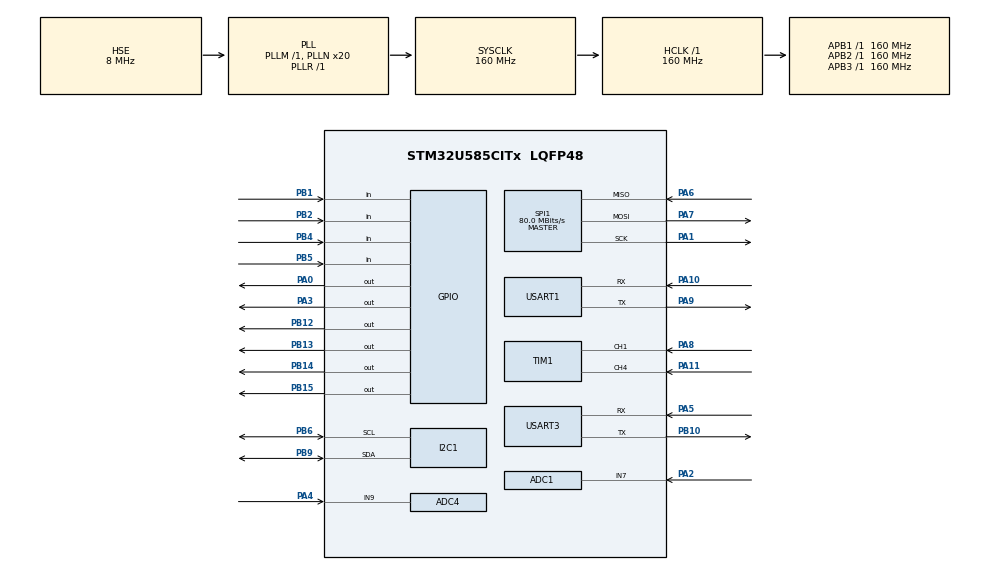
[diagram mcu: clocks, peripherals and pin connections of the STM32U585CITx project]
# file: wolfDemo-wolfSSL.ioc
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ADC1.NbrOfConversion=1
ADC1.master=1
ADC4.NbrOfConversion=1
ADC4.NbrOfConversionFlag=0
ADC4.SelectedChannel=ADC_CHANNEL_9
CORTEX_M33_NS.MPU_Control=__NULL
CORTEX_M33_NS.userName=CORTEX_M33
I2C1.Timing=0x30909DEC
Mcu.Family=STM32U5
Mcu.Name=STM32U585CITx
Mcu.Package=LQFP48
NVIC.PriorityGroup=NVIC_PRIORITYGROUP_4
NVIC.TIM6_IRQn=true\:2\:0\:true\:false\:true\:true\:true\:true
PA0.Signal=GPIO_Output
PA1.Mode=Full_Duplex_Master
PA1.Signal=SPI1_SCK
PA10.Mode=Asynchronous
PA10.Signal=USART1_RX
PA11.Signal=S_TIM1_CH4
PA13\ (JTMS/SWDIO).Mode=JTAG_4_pins
PA13\ (JTMS/SWDIO).Signal=DEBUG_JTMS-SWDIO
PA14\ (JTCK/SWCLK).Mode=JTAG_4_pins
PA14\ (JTCK/SWCLK).Signal=DEBUG_JTCK-SWCLK
PA15\ (JTDI).Mode=JTAG_4_pins
PA15\ (JTDI).Signal=DEBUG_JTDI
PA2.Mode=IN7-Single-Ended
PA2.Signal=ADC1_IN7
PA3.Signal=GPIO_Output
PA4.Mode=IN9
PA4.Signal=ADC4_IN9
PA5.Mode=Asynchronous
PA5.Signal=USART3_RX
PA6.Mode=Full_Duplex_Master
PA6.Signal=SPI1_MISO
PA7.Mode=Full_Duplex_Master
PA7.Signal=SPI1_MOSI
PA8.Signal=S_TIM1_CH1
PA9.Mode=Asynchronous
PA9.Signal=USART1_TX
PB1.Signal=GPIO_Input
PB10.Mode=Asynchronous
PB10.Signal=USART3_TX
PB12.GPIO_Speed=GPIO_SPEED_FREQ_HIGH
PB12.Signal=GPIO_Output
PB13.GPIO_Speed=GPIO_SPEED_FREQ_HIGH
PB13.Signal=GPIO_Output
PB14.GPIO_Speed=GPIO_SPEED_FREQ_HIGH
PB14.Signal=GPIO_Output
PB15.GPIO_ModeDefaultOutputPP=GPIO_MODE_OUTPUT_PP
PB15.GPIO_PuPd=GPIO_NOPULL
PB15.GPIO_Speed=GPIO_SPEED_FREQ_HIGH
PB15.Signal=GPIO_Output
PB2.Signal=GPIO_Input
PB3\ (JTDO/TRACESWO).Mode=JTAG_4_pins
PB3\ (JTDO/TRACESWO).Signal=DEBUG_JTDO-SWO
PB4\ (NJTRST).Signal=GPIO_Input
PB5.Signal=GPIO_Input
PB6.Mode=I2C
PB6.Signal=I2C1_SCL
PB9.Mode=I2C
PB9.Signal=I2C1_SDA
PC14-OSC32_IN\ (PC14).Mode=LSE-External-Oscillator
PC14-OSC32_IN\ (PC14).Signal=RCC_OSC32_IN
PC15-OSC32_OUT\ (PC15).Mode=LSE-External-Oscillator
PC15-OSC32_OUT\ (PC15).Signal=RCC_OSC32_OUT
PH0-OSC_IN\ (PH0).Mode=HSE-External-Oscillator
PH0-OSC_IN\ (PH0).Signal=RCC_OSC_IN
PH1-OSC_OUT\ (PH1).Mode=HSE-External-Oscillator
PH1-OSC_OUT\ (PH1).Signal=RCC_OSC_OUT
ProjectManager.HeapSize=0x200
ProjectManager.StackSize=0x400
ProjectManager.TargetToolchain=STM32CubeIDE
RCC.ADCFreq_Value=16000000
RCC.AHBFreq_Value=160000000
RCC.APB1Freq_Value=160000000
RCC.APB1TimFreq_Value=160000000
RCC.APB2Freq_Value=160000000
RCC.APB2TimFreq_Value=160000000
RCC.APB3Freq_Value=160000000
RCC.CortexFreq_Value=160000000
RCC.EPOD_VALUE=8000000
RCC.HCLKFreq_Value=160000000
RCC.HSE_VALUE=8000000
RCC.HSI48_VALUE=48000000
RCC.HSI_VALUE=16000000
RCC.LSIDIV_VALUE=32000
RCC.MSIClockRange=RCC_MSIRANGE_0
RCC.MSI_VALUE=48000000
RCC.PLL1R=1
RCC.PLL2FRACN=0
RCC.PLL3FRACN=0
RCC.PLLFRACN=0
RCC.PLLN=20
RCC.PLLSourceVirtual=RCC_PLLSOURCE_HSE
RCC.RTCClockSelection=RCC_RTCCLKSOURCE_LSE
RCC.SYSCLKFreq_VALUE=160000000
RCC.SYSCLKSource=RCC_SYSCLKSOURCE_PLLCLK
RCC.USBFreq_Value=48000000
RCC.VCOOutputFreq_Value=160000000
SH.S_TIM1_CH1.0=TIM1_CH1,Input_Capture1_from_TI1
SH.S_TIM1_CH4.0=TIM1_CH4,Input_Capture4_from_TI4
SPI1.CalculateBaudRate=80.0 MBits/s
SPI1.Direction=SPI_DIRECTION_2LINES
SPI1.Mode=SPI_MODE_MASTER
SPI1.VirtualType=VM_MASTER
TIM1.Channel-Input_Capture1_from_TI1=TIM_CHANNEL_1
TIM1.Channel-Input_Capture4_from_TI4=TIM_CHANNEL_4
TIM6.AutoReloadPreload=TIM_AUTORELOAD_PRELOAD_DISABLE
TIM6.PeriodNoDither=15
TIM6.Prescaler=159
TIM6.TIM_MasterOutputTrigger=TIM_TRGO_RESET
USART1.VirtualMode-Asynchronous=VM_ASYNC
USART3.VirtualMode-Asynchronous=VM_ASYNC
VP_AES_VS_AES.Mode=AES_Activate
VP_DCACHE1_VS_DCACHE.Mode=DCACHE_Activate
VP_HASH_VS_HASH.Mode=HASH_Activate
VP_ICACHE_VS_ICACHE.Mode=DefaultMode
VP_LPBAMQUEUE_VS_QUEUE.Mode=QUEUEMODE
VP_LPBAM_VS_SIG1.Mode=SmartRun
VP_LPBAM_VS_SIG4.Mode=LPDMA1
VP_MEMORYMAP_VS_MEMORYMAP.Mode=CurAppReg
VP_PKA_VS_PKA.Mode=PKA_Activate
VP_PWR_VS_SECSignals.Mode=Security/Privilege
VP_PWR_Vdda.Mode=isolationVdda
VP_RNG_VS_RNG.Mode=RNG_Activate
VP_RTC_VS_RTC_Activate.Mode=RTC_Enabled
VP_TIM6_VS_ClockSourceINT.Mode=Enable_Timer
VP_wolfSSL.I-CUBE-wolfSSL_VS_wolfSSLJjwolfSSL_5.8.2_5.8.2.Mode=wolfSSLJjwolfSSL
board=custom
wolfSSL.I-CUBE-wolfSSL.5.8.2.WOLF_CONF_ARMASM=0
wolfSSL.I-CUBE-wolfSSL.5.8.2.WOLF_CONF_KYBER=1
wolfSSL.I-CUBE-wolfSSL.5.8.2.WOLF_CONF_SHA2_384=1
wolfSSL.I-CUBE-wolfSSL.5.8.2.WOLF_CONF_SHA2_512=1
wolfSSL.I-CUBE-wolfSSL.5.8.2.WOLF_CONF_SHA3=1
wolfSSL.I-CUBE-wolfSSL.5.8.2.WOLF_CONF_WOLFCRYPT_ONLY=1
wolfSSL.I-CUBE-wolfSSL.5.8.2.wolfSSLCcwolfSSLJjwolfCryptJjCore=true
wolfSSL.I-CUBE-wolfSSL.5.8.2.wolfSSLCcwolfSSLJjwolfCryptJjTest=true
wolfSSL.I-CUBE-wolfSSL.5.8.2.wolfSSLCcwolfSSLJjwolfSSLJjCore=true

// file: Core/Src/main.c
/* USER CODE BEGIN Header */
/**
  ******************************************************************************
  * @file           : main.c
  * @brief          : Main program body
  ******************************************************************************
  * @attention
  *
  * Copyright (c) 2025 STMicroelectronics.
  * All rights reserved.
  *
  * This software is licensed under terms that can be found in the LICENSE file
  * in the root directory of this software component.
  * If no LICENSE file comes with this software, it is provided AS-IS.
  *
  ******************************************************************************
  */
/* USER CODE END Header */
#include "main.h"

/* USER CODE BEGIN Includes */
#include <stdarg.h>
#include <stdio.h>
#include "stdbool.h"
#include <wolfcrypt/benchmark/benchmark.h>
#include <wolfssl/wolfcrypt/mem_track.h>
/* USER CODE END Includes */

/* USER CODE BEGIN PTD */
extern unsigned char _estack;
extern unsigned int _Min_Stack_Size;   /* CubeMX linker scripts set this value */

/* USER CODE END PTD */

ADC_HandleTypeDef hadc1;
ADC_HandleTypeDef hadc4;

CRYP_HandleTypeDef hcryp;
__ALIGN_BEGIN static const uint32_t pKeyAES[4] __ALIGN_END = {
                            0x00000000,0x00000000,0x00000000,0x00000000};

DCACHE_HandleTypeDef hdcache1;

HASH_HandleTypeDef hhash;

I2C_HandleTypeDef hi2c1;

PKA_HandleTypeDef hpka;

RNG_HandleTypeDef hrng;

RTC_HandleTypeDef hrtc;

SPI_HandleTypeDef hspi1;

TIM_HandleTypeDef htim1;
TIM_HandleTypeDef htim6;

UART_HandleTypeDef huart1;
UART_HandleTypeDef huart3;

/* USER CODE BEGIN PV */
static int current_led = 0;
static inline void LED_Set(uint8_t idx, bool on)
{
  uint16_t pin;
  switch(idx) {
    case 0: pin = GPIO_PIN_12; break;
    case 1: pin = GPIO_PIN_13; break;
    case 2: pin = GPIO_PIN_14; break;
    default: pin = GPIO_PIN_15; break;
  }

  HAL_GPIO_WritePin(GPIOB, pin, on ? GPIO_PIN_SET : GPIO_PIN_RESET);
}
static inline void LED_Set_Change()
{

  switch(current_led) {
    case 0:
    	LED_Set(3, false);
    	LED_Set(0, true);
    	break;
    case 1:
    	LED_Set(0, false);
    	LED_Set(1, true);
    	break;
    case 2:
    	LED_Set(1, false);
    	LED_Set(2, true);
    	break;
    default:
    	LED_Set(2, false);
    	LED_Set(3, true);
    	break;
  }

  current_led++;
  if (current_led == 4)
	  current_led = 0;
}

/* Retargets the C library printf function to the USART. */
#include <stdio.h>
#ifdef __GNUC__
int __io_putchar(int ch)
#else
int fputc(int ch, FILE *f)
#endif
{
    HAL_UART_Transmit(&huart1, (uint8_t *)&ch, 1, 0xFFFF);

    return ch;
}
int _wrap_printf(const char *fmt, ...) {

    va_list ap;
    va_start(ap, fmt);
    LED_Set_Change();
    // Call the real vprintf so we don’t have to forward varargs ourselves
    int rc = vprintf(fmt, ap);
    va_end(ap);

    return rc;
}

#ifdef __GNUC__
int _write(int file,char *ptr, int len)
{
    int DataIdx;

    for (DataIdx= 0; DataIdx< len; DataIdx++) {
        __io_putchar(*ptr++);
    }
    return len;
}
#endif

/* ---- Software-PWM parameters ----
   With 64 levels and a 1 kHz PWM frequency, we need a 64 kHz TIM6 update IRQ.
   That’s light CPU load and gives smooth fades.
*/
#define PWM_LEVELS        64u            // 6-bit PWM
#define PWM_FREQ_HZ       1000u          // visible PWM ~1 kHz (no flicker)
#define TIM6_TICK_HZ      (PWM_LEVELS * PWM_FREQ_HZ) // = 64 kHz

/* Fade sequencing: one LED at a time, fade up then down, then next LED */
#define FADE_STEP_PERIODS 2u             // brightness change every N PWM periods
#define BRIGHT_MAX        (PWM_LEVELS-1)

static volatile uint8_t  pwm_phase = 0;   // 0..(PWM_LEVELS-1)
static volatile uint16_t period_acc = 0;  // counts PWM periods for fade stepping
static volatile uint8_t  lead_led = 0;     // 0..3 (PB12..PB15)
static volatile uint8_t  trail_led = 3;    // previous LED (starts as 3 so 3->0 first)
static volatile uint8_t  cross = 0;        // 0..BRIGHT_MAX
static volatile uint8_t  bright[4] = {0,0,0,0}; // current brightness per LED
/* USER CODE END PV */

void SystemClock_Config(void);
static void MX_GPIO_Init(void);
static void MX_ADC1_Init(void);
static void MX_ADC4_Init(void);
static void MX_I2C1_Init(void);
static void MX_SPI1_Init(void);
static void MX_TIM1_Init(void);
static void MX_USART1_UART_Init(void);
static void MX_USART3_UART_Init(void);
static void MX_DCACHE1_Init(void);
static void MX_ICACHE_Init(void);
static void MX_TIM6_Init(void);
static void MX_AES_Init(void);
static void MX_HASH_Init(void);
static void MX_RNG_Init(void);
static void MX_PKA_Init(void);
static void MX_RTC_Init(void);
/* USER CODE BEGIN PFP */
static inline void LED_InitPins(void);
static inline void LED_Set(uint8_t idx, bool on);
static void        LED_ApplyPWM(void);
static void        LED_FadeStep(void);
/* USER CODE END PFP */

/* USER CODE BEGIN 0 */
static inline void LED_InitPins(void)
{
  /* If CubeMX already set PB12..PB15 as outputs, this is optional.
     Safe to call anyway. */
  GPIO_InitTypeDef gi = {0};
  __HAL_RCC_GPIOB_CLK_ENABLE();
  gi.Pin   = GPIO_PIN_12 | GPIO_PIN_13 | GPIO_PIN_14 | GPIO_PIN_15;
  gi.Mode  = GPIO_MODE_OUTPUT_PP;
  gi.Pull  = GPIO_NOPULL;
  gi.Speed = GPIO_SPEED_FREQ_LOW;
  HAL_GPIO_Init(GPIOB, &gi);

  HAL_GPIO_WritePin(GPIOB, GPIO_PIN_12 | GPIO_PIN_13 | GPIO_PIN_14 | GPIO_PIN_15, GPIO_PIN_RESET);
}

/* Called every TIM6 tick: keep as-is */
static void LED_ApplyPWM(void)
{
  uint8_t p = pwm_phase;

  for (uint8_t i = 0; i < 4; i++) {
    LED_Set(i, bright[i] > p);
  }

  p++;
  if (p >= PWM_LEVELS) {
    p = 0;
    if (++period_acc >= FADE_STEP_PERIODS) {
      period_acc = 0;
      LED_FadeStep();
    }
  }
  pwm_phase = p;
}

/* Cross-fade:
   - trail_led brightness = BRIGHT_MAX - cross (fading down)
   - lead_led  brightness = cross               (fading up)
   When cross reaches BRIGHT_MAX, advance to next LED and reset cross.
*/
static void LED_FadeStep(void)
{
  /* Update the two active LEDs */
  bright[lead_led]  = cross;
  bright[trail_led] = BRIGHT_MAX - cross;

  /* Others stay off */
  for (uint8_t i = 0; i < 4; i++) {
    if (i != lead_led && i != trail_led) bright[i] = 0;
  }

  /* Advance cross */
  if (cross < BRIGHT_MAX) {
    cross++;
  } else {
    /* Completed cross-fade: the lead becomes the new trail,
       pick the next LED as the new lead, reset cross */
    cross = 0;
    trail_led = lead_led;
    lead_led  = (uint8_t)((lead_led + 1) & 0x03);
  }
}
/* USER CODE END 0 */

int main(void)
{

  /* MCU Configuration--------------------------------------------------------*/

  /* Reset of all peripherals, Initializes the Flash interface and the Systick. */
  HAL_Init();

  /* USER CODE BEGIN Init */
  /* Turn off buffers, so I/O occurs immediately */
  setvbuf(stdin, NULL, _IONBF, 0);
  setvbuf(stdout, NULL, _IONBF, 0);
  setvbuf(stderr, NULL, _IONBF, 0);
  /* USER CODE END Init */

  /* Configure the system clock */
  SystemClock_Config();

  /* Initialize all configured peripherals */
  MX_GPIO_Init();
  MX_ADC1_Init();
  MX_ADC4_Init();
  MX_I2C1_Init();
  MX_SPI1_Init();
  MX_TIM1_Init();
  MX_USART1_UART_Init();
  MX_USART3_UART_Init();
  MX_DCACHE1_Init();
  MX_ICACHE_Init();
  MX_TIM6_Init();
  MX_AES_Init();
  MX_HASH_Init();
  MX_RNG_Init();
  MX_PKA_Init();
  MX_RTC_Init();
  /* USER CODE BEGIN 2 */
  size_t stack_bytes = (size_t)&_Min_Stack_Size;  /* value, not address */
  STACK_SIZE_CHECK_INIT_TOP(&_estack, stack_bytes);
  //StackSizeCheck_Rebaseline();

  uint32_t loop_count = 0;
  if (HAL_GPIO_ReadPin(GPIOB, GPIO_PIN_5) == GPIO_PIN_RESET) {
	  LED_InitPins();

	  /* Start with LED 3 fading down and LED 0 fading up */
	  lead_led  = 0;
	  trail_led = 3;
	  cross     = 0;
	  bright[lead_led]  = cross;
	  bright[trail_led] = BRIGHT_MAX - cross;
	  for (uint8_t i = 0; i < 4; i++) {
	    if (i != lead_led && i != trail_led) bright[i] = 0;
	  }

	  /* Start TIM6 update interrupt. Make sure TIM6 is configured to tick at TIM6_TICK_HZ (see settings below). */
	  if (HAL_TIM_Base_Start_IT(&htim6) != HAL_OK) {
	    Error_Handler();
	  }
	  while(1)
	  {}
  }
  /* USER CODE END 2 */

  /* Infinite loop */
  /* USER CODE BEGIN WHILE */
  while (1)
  {
	loop_count++;
    /* USER CODE END WHILE */
	printf("\x1b[2J\x1b[H\x1b[4m\x1b[97mwolf\x1b[96mSSL \x1b[38;2;255;210;0mSTM32U585 @ 160 MHz, hardware accelerated\x1b[92m\x1b[0m\r\n");
	printf("Benchmark Demo run %u\r\n", loop_count);
	benchmark_test(NULL);
	HAL_Delay(5000);
  }
}

void SystemClock_Config(void)
{
  RCC_OscInitTypeDef RCC_OscInitStruct = {0};
  RCC_ClkInitTypeDef RCC_ClkInitStruct = {0};

  /** Configure the main internal regulator output voltage
  */
  if (HAL_PWREx_ControlVoltageScaling(PWR_REGULATOR_VOLTAGE_SCALE1) != HAL_OK)
  {
    Error_Handler();
  }

  /** Configure LSE Drive Capability
  */
  HAL_PWR_EnableBkUpAccess();
  __HAL_RCC_LSEDRIVE_CONFIG(RCC_LSEDRIVE_LOW);

  /** Initializes the CPU, AHB and APB buses clocks
  */
  RCC_OscInitStruct.OscillatorType = RCC_OSCILLATORTYPE_HSI48|RCC_OSCILLATORTYPE_HSI
                              |RCC_OSCILLATORTYPE_HSE|RCC_OSCILLATORTYPE_LSE;
  RCC_OscInitStruct.HSEState = RCC_HSE_ON;
  RCC_OscInitStruct.LSEState = RCC_LSE_ON;
  RCC_OscInitStruct.HSIState = RCC_HSI_ON;
  RCC_OscInitStruct.HSI48State = RCC_HSI48_ON;
  RCC_OscInitStruct.HSICalibrationValue = RCC_HSICALIBRATION_DEFAULT;
  RCC_OscInitStruct.PLL.PLLState = RCC_PLL_ON;
  RCC_OscInitStruct.PLL.PLLSource = RCC_PLLSOURCE_HSE;
  RCC_OscInitStruct.PLL.PLLMBOOST = RCC_PLLMBOOST_DIV1;
  RCC_OscInitStruct.PLL.PLLM = 1;
  RCC_OscInitStruct.PLL.PLLN = 20;
  RCC_OscInitStruct.PLL.PLLP = 2;
  RCC_OscInitStruct.PLL.PLLQ = 2;
  RCC_OscInitStruct.PLL.PLLR = 1;
  RCC_OscInitStruct.PLL.PLLRGE = RCC_PLLVCIRANGE_1;
  RCC_OscInitStruct.PLL.PLLFRACN = 0;
  if (HAL_RCC_OscConfig(&RCC_OscInitStruct) != HAL_OK)
  {
    Error_Handler();
  }

  /** Initializes the CPU, AHB and APB buses clocks
  */
  RCC_ClkInitStruct.ClockType = RCC_CLOCKTYPE_HCLK|RCC_CLOCKTYPE_SYSCLK
                              |RCC_CLOCKTYPE_PCLK1|RCC_CLOCKTYPE_PCLK2
                              |RCC_CLOCKTYPE_PCLK3;
  RCC_ClkInitStruct.SYSCLKSource = RCC_SYSCLKSOURCE_PLLCLK;
  RCC_ClkInitStruct.AHBCLKDivider = RCC_SYSCLK_DIV1;
  RCC_ClkInitStruct.APB1CLKDivider = RCC_HCLK_DIV1;
  RCC_ClkInitStruct.APB2CLKDivider = RCC_HCLK_DIV1;
  RCC_ClkInitStruct.APB3CLKDivider = RCC_HCLK_DIV1;

  if (HAL_RCC_ClockConfig(&RCC_ClkInitStruct, FLASH_LATENCY_4) != HAL_OK)
  {
    Error_Handler();
  }
}

static void MX_ADC1_Init(void)
{

  /** Common config
  */
  hadc1.Instance = ADC1;
  hadc1.Init.ClockPrescaler = ADC_CLOCK_ASYNC_DIV1;
  hadc1.Init.Resolution = ADC_RESOLUTION_14B;
  hadc1.Init.GainCompensation = 0;
  hadc1.Init.ScanConvMode = ADC_SCAN_DISABLE;
  hadc1.Init.EOCSelection = ADC_EOC_SINGLE_CONV;
  hadc1.Init.LowPowerAutoWait = DISABLE;
  hadc1.Init.ContinuousConvMode = DISABLE;
  hadc1.Init.NbrOfConversion = 1;
  hadc1.Init.DiscontinuousConvMode = DISABLE;
  hadc1.Init.DMAContinuousRequests = DISABLE;
  hadc1.Init.TriggerFrequencyMode = ADC_TRIGGER_FREQ_HIGH;
  hadc1.Init.Overrun = ADC_OVR_DATA_PRESERVED;
  hadc1.Init.LeftBitShift = ADC_LEFTBITSHIFT_NONE;
  hadc1.Init.ConversionDataManagement = ADC_CONVERSIONDATA_DR;
  hadc1.Init.OversamplingMode = DISABLE;
  if (HAL_ADC_Init(&hadc1) != HAL_OK)
  {
    Error_Handler();
  }

}

static void MX_ADC4_Init(void)
{

  /** Common config
  */
  hadc4.Instance = ADC4;
  hadc4.Init.ClockPrescaler = ADC_CLOCK_ASYNC_DIV1;
  hadc4.Init.Resolution = ADC_RESOLUTION_12B;
  hadc4.Init.DataAlign = ADC_DATAALIGN_RIGHT;
  hadc4.Init.ScanConvMode = ADC_SCAN_DIRECTION_FORWARD;
  hadc4.Init.EOCSelection = ADC_EOC_SINGLE_CONV;
  hadc4.Init.LowPowerAutoPowerOff = ADC_LOW_POWER_NONE;
  hadc4.Init.LowPowerAutoWait = DISABLE;
  hadc4.Init.ContinuousConvMode = DISABLE;
  hadc4.Init.NbrOfConversion = 1;
  hadc4.Init.DiscontinuousConvMode = DISABLE;
  hadc4.Init.ExternalTrigConv = ADC_SOFTWARE_START;
  hadc4.Init.ExternalTrigConvEdge = ADC_EXTERNALTRIGCONVEDGE_NONE;
  hadc4.Init.DMAContinuousRequests = DISABLE;
  hadc4.Init.TriggerFrequencyMode = ADC_TRIGGER_FREQ_LOW;
  hadc4.Init.Overrun = ADC_OVR_DATA_PRESERVED;
  hadc4.Init.SamplingTimeCommon1 = ADC4_SAMPLETIME_1CYCLE_5;
  hadc4.Init.SamplingTimeCommon2 = ADC4_SAMPLETIME_1CYCLE_5;
  hadc4.Init.OversamplingMode = DISABLE;
  if (HAL_ADC_Init(&hadc4) != HAL_OK)
  {
    Error_Handler();
  }

}

static void MX_AES_Init(void)
{

  hcryp.Instance = AES;
  hcryp.Init.DataType = CRYP_NO_SWAP;
  hcryp.Init.KeySize = CRYP_KEYSIZE_128B;
  hcryp.Init.pKey = (uint32_t *)pKeyAES;
  hcryp.Init.Algorithm = CRYP_AES_ECB;
  hcryp.Init.DataWidthUnit = CRYP_DATAWIDTHUNIT_WORD;
  hcryp.Init.HeaderWidthUnit = CRYP_HEADERWIDTHUNIT_WORD;
  hcryp.Init.KeyIVConfigSkip = CRYP_KEYIVCONFIG_ALWAYS;
  hcryp.Init.KeyMode = CRYP_KEYMODE_NORMAL;
  if (HAL_CRYP_Init(&hcryp) != HAL_OK)
  {
    Error_Handler();
  }

}

static void MX_DCACHE1_Init(void)
{

  hdcache1.Instance = DCACHE1;
  hdcache1.Init.ReadBurstType = DCACHE_READ_BURST_WRAP;
  if (HAL_DCACHE_Init(&hdcache1) != HAL_OK)
  {
    Error_Handler();
  }

}

static void MX_HASH_Init(void)
{

  hhash.Init.DataType = HASH_DATATYPE_32B;
  if (HAL_HASH_Init(&hhash) != HAL_OK)
  {
    Error_Handler();
  }

}

static void MX_I2C1_Init(void)
{

  hi2c1.Instance = I2C1;
  hi2c1.Init.Timing = 0x30909DEC;
  hi2c1.Init.OwnAddress1 = 0;
  hi2c1.Init.AddressingMode = I2C_ADDRESSINGMODE_7BIT;
  hi2c1.Init.DualAddressMode = I2C_DUALADDRESS_DISABLE;
  hi2c1.Init.OwnAddress2 = 0;
  hi2c1.Init.OwnAddress2Masks = I2C_OA2_NOMASK;
  hi2c1.Init.GeneralCallMode = I2C_GENERALCALL_DISABLE;
  hi2c1.Init.NoStretchMode = I2C_NOSTRETCH_DISABLE;
  if (HAL_I2C_Init(&hi2c1) != HAL_OK)
  {
    Error_Handler();
  }

  /** Configure Analogue filter
  */
  if (HAL_I2CEx_ConfigAnalogFilter(&hi2c1, I2C_ANALOGFILTER_ENABLE) != HAL_OK)
  {
    Error_Handler();
  }

  /** Configure Digital filter
  */
  if (HAL_I2CEx_ConfigDigitalFilter(&hi2c1, 0) != HAL_OK)
  {
    Error_Handler();
  }

}

static void MX_ICACHE_Init(void)
{

  /** Enable instruction cache (default 2-ways set associative cache)
  */
  if (HAL_ICACHE_Enable() != HAL_OK)
  {
    Error_Handler();
  }

}

static void MX_PKA_Init(void)
{

  hpka.Instance = PKA;
  if (HAL_PKA_Init(&hpka) != HAL_OK)
  {
    Error_Handler();
  }

}

static void MX_RNG_Init(void)
{

  hrng.Instance = RNG;
  hrng.Init.ClockErrorDetection = RNG_CED_ENABLE;
  if (HAL_RNG_Init(&hrng) != HAL_OK)
  {
    Error_Handler();
  }

}

static void MX_RTC_Init(void)
{

  RTC_PrivilegeStateTypeDef privilegeState = {0};

  /** Initialize RTC Only
  */
  hrtc.Instance = RTC;
  hrtc.Init.HourFormat = RTC_HOURFORMAT_24;
  hrtc.Init.AsynchPrediv = 127;
  hrtc.Init.SynchPrediv = 255;
  hrtc.Init.OutPut = RTC_OUTPUT_DISABLE;
  hrtc.Init.OutPutRemap = RTC_OUTPUT_REMAP_NONE;
  hrtc.Init.OutPutPolarity = RTC_OUTPUT_POLARITY_HIGH;
  hrtc.Init.OutPutType = RTC_OUTPUT_TYPE_OPENDRAIN;
  hrtc.Init.OutPutPullUp = RTC_OUTPUT_PULLUP_NONE;
  hrtc.Init.BinMode = RTC_BINARY_NONE;
  if (HAL_RTC_Init(&hrtc) != HAL_OK)
  {
    Error_Handler();
  }
  privilegeState.rtcPrivilegeFull = RTC_PRIVILEGE_FULL_NO;
  privilegeState.backupRegisterPrivZone = RTC_PRIVILEGE_BKUP_ZONE_NONE;
  privilegeState.backupRegisterStartZone2 = RTC_BKP_DR0;
  privilegeState.backupRegisterStartZone3 = RTC_BKP_DR0;
  if (HAL_RTCEx_PrivilegeModeSet(&hrtc, &privilegeState) != HAL_OK)
  {
    Error_Handler();
  }

}

static void MX_SPI1_Init(void)
{

  SPI_AutonomousModeConfTypeDef HAL_SPI_AutonomousMode_Cfg_Struct = {0};

  /* SPI1 parameter configuration*/
  hspi1.Instance = SPI1;
  hspi1.Init.Mode = SPI_MODE_MASTER;
  hspi1.Init.Direction = SPI_DIRECTION_2LINES;
  hspi1.Init.DataSize = SPI_DATASIZE_4BIT;
  hspi1.Init.CLKPolarity = SPI_POLARITY_LOW;
  hspi1.Init.CLKPhase = SPI_PHASE_1EDGE;
  hspi1.Init.NSS = SPI_NSS_SOFT;
  hspi1.Init.BaudRatePrescaler = SPI_BAUDRATEPRESCALER_2;
  hspi1.Init.FirstBit = SPI_FIRSTBIT_MSB;
  hspi1.Init.TIMode = SPI_TIMODE_DISABLE;
  hspi1.Init.CRCCalculation = SPI_CRCCALCULATION_DISABLE;
  hspi1.Init.CRCPolynomial = 0x7;
  hspi1.Init.NSSPMode = SPI_NSS_PULSE_ENABLE;
  hspi1.Init.NSSPolarity = SPI_NSS_POLARITY_LOW;
  hspi1.Init.FifoThreshold = SPI_FIFO_THRESHOLD_01DATA;
  hspi1.Init.MasterSSIdleness = SPI_MASTER_SS_IDLENESS_00CYCLE;
  hspi1.Init.MasterInterDataIdleness = SPI_MASTER_INTERDATA_IDLENESS_00CYCLE;
  hspi1.Init.MasterReceiverAutoSusp = SPI_MASTER_RX_AUTOSUSP_DISABLE;
  hspi1.Init.MasterKeepIOState = SPI_MASTER_KEEP_IO_STATE_DISABLE;
  hspi1.Init.IOSwap = SPI_IO_SWAP_DISABLE;
  hspi1.Init.ReadyMasterManagement = SPI_RDY_MASTER_MANAGEMENT_INTERNALLY;
  hspi1.Init.ReadyPolarity = SPI_RDY_POLARITY_HIGH;
  if (HAL_SPI_Init(&hspi1) != HAL_OK)
  {
    Error_Handler();
  }
  HAL_SPI_AutonomousMode_Cfg_Struct.TriggerState = SPI_AUTO_MODE_DISABLE;
  HAL_SPI_AutonomousMode_Cfg_Struct.TriggerSelection = SPI_GRP1_GPDMA_CH0_TCF_TRG;
  HAL_SPI_AutonomousMode_Cfg_Struct.TriggerPolarity = SPI_TRIG_POLARITY_RISING;
  if (HAL_SPIEx_SetConfigAutonomousMode(&hspi1, &HAL_SPI_AutonomousMode_Cfg_Struct) != HAL_OK)
  {
    Error_Handler();
  }

}

static void MX_TIM1_Init(void)
{

  TIM_MasterConfigTypeDef sMasterConfig = {0};
  TIM_IC_InitTypeDef sConfigIC = {0};

  htim1.Instance = TIM1;
  htim1.Init.Prescaler = 0;
  htim1.Init.CounterMode = TIM_COUNTERMODE_UP;
  htim1.Init.Period = 65535;
  htim1.Init.ClockDivision = TIM_CLOCKDIVISION_DIV1;
  htim1.Init.RepetitionCounter = 0;
  htim1.Init.AutoReloadPreload = TIM_AUTORELOAD_PRELOAD_DISABLE;
  if (HAL_TIM_IC_Init(&htim1) != HAL_OK)
  {
    Error_Handler();
  }
  sMasterConfig.MasterOutputTrigger = TIM_TRGO_RESET;
  sMasterConfig.MasterOutputTrigger2 = TIM_TRGO2_RESET;
  sMasterConfig.MasterSlaveMode = TIM_MASTERSLAVEMODE_DISABLE;
  if (HAL_TIMEx_MasterConfigSynchronization(&htim1, &sMasterConfig) != HAL_OK)
  {
    Error_Handler();
  }
  sConfigIC.ICPolarity = TIM_INPUTCHANNELPOLARITY_RISING;
  sConfigIC.ICSelection = TIM_ICSELECTION_DIRECTTI;
  sConfigIC.ICPrescaler = TIM_ICPSC_DIV1;
  sConfigIC.ICFilter = 0;
  if (HAL_TIM_IC_ConfigChannel(&htim1, &sConfigIC, TIM_CHANNEL_1) != HAL_OK)
  {
    Error_Handler();
  }
  if (HAL_TIM_IC_ConfigChannel(&htim1, &sConfigIC, TIM_CHANNEL_4) != HAL_OK)
  {
    Error_Handler();
  }

}

static void MX_TIM6_Init(void)
{

  TIM_MasterConfigTypeDef sMasterConfig = {0};

  htim6.Instance = TIM6;
  htim6.Init.Prescaler = 159;
  htim6.Init.CounterMode = TIM_COUNTERMODE_UP;
  htim6.Init.Period = 15;
  htim6.Init.AutoReloadPreload = TIM_AUTORELOAD_PRELOAD_DISABLE;
  if (HAL_TIM_Base_Init(&htim6) != HAL_OK)
  {
    Error_Handler();
  }
  sMasterConfig.MasterOutputTrigger = TIM_TRGO_RESET;
  sMasterConfig.MasterSlaveMode = TIM_MASTERSLAVEMODE_DISABLE;
  if (HAL_TIMEx_MasterConfigSynchronization(&htim6, &sMasterConfig) != HAL_OK)
  {
    Error_Handler();
  }

}

static void MX_USART1_UART_Init(void)
{

  huart1.Instance = USART1;
  huart1.Init.BaudRate = 115200;
  huart1.Init.WordLength = UART_WORDLENGTH_8B;
  huart1.Init.StopBits = UART_STOPBITS_1;
  huart1.Init.Parity = UART_PARITY_NONE;
  huart1.Init.Mode = UART_MODE_TX_RX;
  huart1.Init.HwFlowCtl = UART_HWCONTROL_NONE;
  huart1.Init.OverSampling = UART_OVERSAMPLING_16;
  huart1.Init.OneBitSampling = UART_ONE_BIT_SAMPLE_DISABLE;
  huart1.Init.ClockPrescaler = UART_PRESCALER_DIV1;
  huart1.AdvancedInit.AdvFeatureInit = UART_ADVFEATURE_NO_INIT;
  if (HAL_UART_Init(&huart1) != HAL_OK)
  {
    Error_Handler();
  }
  if (HAL_UARTEx_SetTxFifoThreshold(&huart1, UART_TXFIFO_THRESHOLD_1_8) != HAL_OK)
  {
    Error_Handler();
  }
  if (HAL_UARTEx_SetRxFifoThreshold(&huart1, UART_RXFIFO_THRESHOLD_1_8) != HAL_OK)
  {
    Error_Handler();
  }
  if (HAL_UARTEx_DisableFifoMode(&huart1) != HAL_OK)
  {
    Error_Handler();
  }

}

static void MX_USART3_UART_Init(void)
{

  huart3.Instance = USART3;
  huart3.Init.BaudRate = 115200;
  huart3.Init.WordLength = UART_WORDLENGTH_8B;
  huart3.Init.StopBits = UART_STOPBITS_1;
  huart3.Init.Parity = UART_PARITY_NONE;
  huart3.Init.Mode = UART_MODE_TX_RX;
  huart3.Init.HwFlowCtl = UART_HWCONTROL_NONE;
  huart3.Init.OverSampling = UART_OVERSAMPLING_16;
  huart3.Init.OneBitSampling = UART_ONE_BIT_SAMPLE_DISABLE;
  huart3.Init.ClockPrescaler = UART_PRESCALER_DIV1;
  huart3.AdvancedInit.AdvFeatureInit = UART_ADVFEATURE_NO_INIT;
  if (HAL_UART_Init(&huart3) != HAL_OK)
  {
    Error_Handler();
  }
  if (HAL_UARTEx_SetTxFifoThreshold(&huart3, UART_TXFIFO_THRESHOLD_1_8) != HAL_OK)
  {
    Error_Handler();
  }
  if (HAL_UARTEx_SetRxFifoThreshold(&huart3, UART_RXFIFO_THRESHOLD_1_8) != HAL_OK)
  {
    Error_Handler();
  }
  if (HAL_UARTEx_DisableFifoMode(&huart3) != HAL_OK)
  {
    Error_Handler();
  }

}

static void MX_GPIO_Init(void)
{
  GPIO_InitTypeDef GPIO_InitStruct = {0};

  /* GPIO Ports Clock Enable */
  __HAL_RCC_GPIOC_CLK_ENABLE();
  __HAL_RCC_GPIOH_CLK_ENABLE();
  __HAL_RCC_GPIOA_CLK_ENABLE();
  __HAL_RCC_GPIOB_CLK_ENABLE();

  /*Configure GPIO pin Output Level */
  HAL_GPIO_WritePin(GPIOA, GPIO_PIN_0|GPIO_PIN_3, GPIO_PIN_RESET);

  /*Configure GPIO pin Output Level */
  HAL_GPIO_WritePin(GPIOB, GPIO_PIN_12|GPIO_PIN_13|GPIO_PIN_14|GPIO_PIN_15, GPIO_PIN_RESET);

  /*Configure GPIO pins : PA0 PA3 */
  GPIO_InitStruct.Pin = GPIO_PIN_0|GPIO_PIN_3;
  GPIO_InitStruct.Mode = GPIO_MODE_OUTPUT_PP;
  GPIO_InitStruct.Pull = GPIO_NOPULL;
  GPIO_InitStruct.Speed = GPIO_SPEED_FREQ_LOW;
  HAL_GPIO_Init(GPIOA, &GPIO_InitStruct);

  /*Configure GPIO pins : PB1 PB2 PB4 PB5 */
  GPIO_InitStruct.Pin = GPIO_PIN_1|GPIO_PIN_2|GPIO_PIN_4|GPIO_PIN_5;
  GPIO_InitStruct.Mode = GPIO_MODE_INPUT;
  GPIO_InitStruct.Pull = GPIO_NOPULL;
  HAL_GPIO_Init(GPIOB, &GPIO_InitStruct);

  /*Configure GPIO pins : PB12 PB13 PB14 PB15 */
  GPIO_InitStruct.Pin = GPIO_PIN_12|GPIO_PIN_13|GPIO_PIN_14|GPIO_PIN_15;
  GPIO_InitStruct.Mode = GPIO_MODE_OUTPUT_PP;
  GPIO_InitStruct.Pull = GPIO_NOPULL;
  GPIO_InitStruct.Speed = GPIO_SPEED_FREQ_HIGH;
  HAL_GPIO_Init(GPIOB, &GPIO_InitStruct);

}

/* USER CODE BEGIN 4 */
void HAL_TIM_PeriodElapsedCallback(TIM_HandleTypeDef *htim)
{
  if (htim->Instance == TIM6) {
    LED_ApplyPWM();
  }
}
/* USER CODE END 4 */

void Error_Handler(void)
{
  __disable_irq();
  while (1)
  {
  }
}
